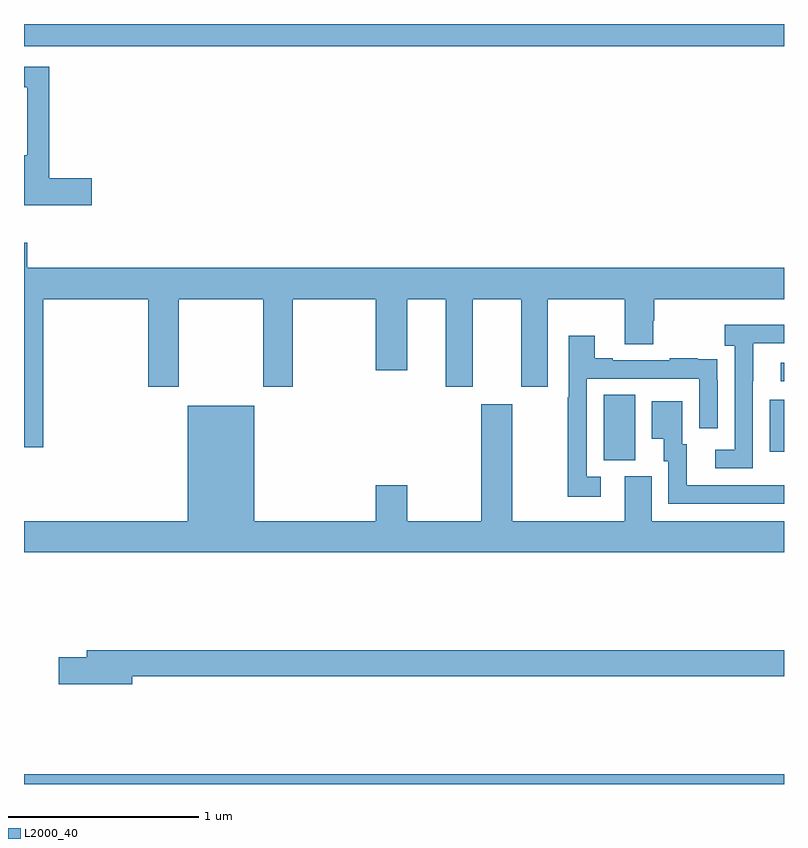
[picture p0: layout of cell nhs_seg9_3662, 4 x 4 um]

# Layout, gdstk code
import gdstk
lib = gdstk.Library(unit=1e-6, precision=1e-09)
def R(c, l, rs):  # rectangles x0, y0, x1, y1
    for r in rs: c.add(gdstk.rectangle(r[:2], r[2:], *l))
def P(c, l, *ps):  # polygons
    for p in ps: c.add(gdstk.Polygon(p, *l))
L2000_40 = (2000, 40)

nhs_seg9_3662 = lib.new_cell('nhs_seg9_3662')
R(nhs_seg9_3662, L2000_40, [(319,1228.5,323,1228.552), (322.052,1230.205,322.216,1230.548), (322.925,1230.249,323,1230.523), (322.983,1230.621,323,1230.717), (319,1232.384,323,1232.5)])
P(nhs_seg9_3662, L2000_40, [(319.357,1231.688),(319.133,1231.688),(319.133,1232.274),(319,1232.274),(319,1232.166),(319.016,1232.166),(319.016,1231.81),(319,1231.81),(319,1231.546),(319.357,1231.546)],
  [(319.1,1231.052),(319.655,1231.052),(319.655,1230.591),(319.815,1230.591),(319.815,1231.052),(320.26,1231.052),(320.26,1230.591),(320.415,1230.591),(320.415,1231.052),(320.852,1231.052),(320.852,1230.678),(321.016,1230.678),(321.016,1231.052),(321.221,1231.052),(321.221,1230.591),(321.361,1230.591),(321.361,1231.052),(321.617,1231.052),(321.617,1230.591),(321.757,1230.591),(321.757,1231.052),(322.163,1231.052),(322.163,1230.814),(322.311,1230.814),(322.311,1230.939),(322.316,1230.939),(322.316,1231.052),(323,1231.052),(323,1231.216),(319.016,1231.216),(319.016,1231.348),(319,1231.348),(319,1230.273),(319.1,1230.273)],
  [(322.836,1230.619),(322.837,1230.619),(322.837,1230.819),(323,1230.819),(323,1230.916),(322.689,1230.916),(322.689,1230.806),(322.74,1230.806),(322.74,1230.258),(322.638,1230.258),(322.638,1230.162),(322.836,1230.162)],
  [(322.036,1230.117),(321.963,1230.117),(321.963,1230.633),(322.554,1230.633),(322.554,1230.372),(322.65,1230.372),(322.65,1230.626),(322.649,1230.626),(322.649,1230.735),(322.547,1230.735),(322.547,1230.742),(322.399,1230.742),(322.399,1230.729),(322.099,1230.729),(322.099,1230.742),(322.003,1230.742),(322.003,1230.859),(321.867,1230.859),(321.867,1230.536),(321.862,1230.536),(321.862,1230.012),(322.036,1230.012)],
  [(323,1230.073),(322.973,1230.073),(322.973,1230.072),(322.489,1230.072),(322.489,1230.288),(322.465,1230.288),(322.465,1230.514),(322.304,1230.514),(322.304,1230.317),(322.367,1230.317),(322.367,1230.198),(322.392,1230.198),(322.392,1229.976),(323,1229.976)],
  [(323,1229.884),(322.303,1229.884),(322.303,1230.12),(322.163,1230.12),(322.163,1229.884),(321.571,1229.884),(321.571,1230.499),(321.407,1230.499),(321.407,1229.884),(321.016,1229.884),(321.016,1230.073),(320.852,1230.073),(320.852,1229.884),(320.212,1229.884),(320.212,1230.49),(319.862,1230.49),(319.862,1229.884),(319,1229.884),(319,1229.72),(323,1229.72)],
  [(319.57,1229.068),(323,1229.068),(323,1229.204),(319.331,1229.204),(319.331,1229.168),(319.182,1229.168),(319.182,1229.026),(319.57,1229.026)])

lib.write_gds('nhs_seg9_3662.gds')
